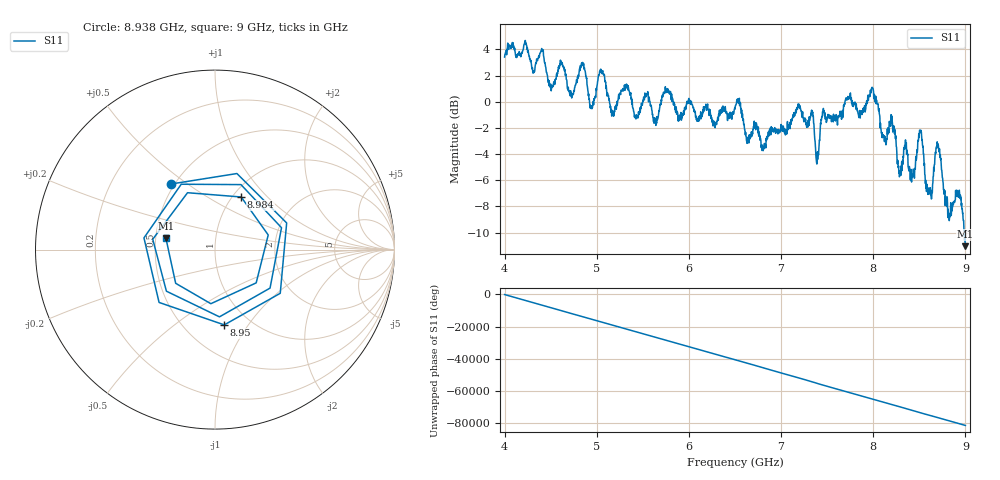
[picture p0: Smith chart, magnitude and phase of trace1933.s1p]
! Created with skrf 1.8.0 (http://scikit-rf.org).
# Hz S RI R 50.0
!freq ReS11 ImS11
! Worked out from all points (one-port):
!   1601 points, 4 GHz to 9 GHz, reference 50 ohm
!   lowest |S11| = -11.0 dB at 9 GHz (marker M1), VSWR 1.78, Z = 28.3 + j3.88 ohm
!   |S11| at or under -10 dB: 8.986217 GHz to end of sweep
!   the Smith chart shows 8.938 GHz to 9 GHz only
!   S11 on the Smith chart (normalised r, x): 8.938 GHz: 0.48, +0.43; 8.95 GHz: 0.76, -0.78; 8.984 GHz: 1.09, +0.72; 9 GHz: 0.57, +0.08
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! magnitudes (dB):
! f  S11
! 4 GHz  3.4
! 4.625 GHz  2.9
! 4.722 GHz  0.5
! 4.853 GHz  2.7
! 4.941 GHz  -0.4
! 5.044 GHz  2.2
! 5.25 GHz  0.7
! 5.875 GHz  -0.8
! 6.5 GHz  -0.6
! 6.809 GHz  -3.4
! 7.125 GHz  -1.2
! 7.331 GHz  -0.6
! 7.394 GHz  -3.8
! 7.453 GHz  -0.8
! 7.75 GHz  0.6
! 7.994 GHz  1.1
! 8.112 GHz  -2.7
! 8.216 GHz  -2.0
! 8.281 GHz  -5.4
! 8.375 GHz  -4.0
! 8.516 GHz  -2.2
! 8.616 GHz  -7.0
! 8.703 GHz  -3.2
! 8.812 GHz  -8.2
! 8.938 GHz  -7.1
! 8.95 GHz  -7.5
! 8.984 GHz  -9.7
! 9 GHz  -11.0
